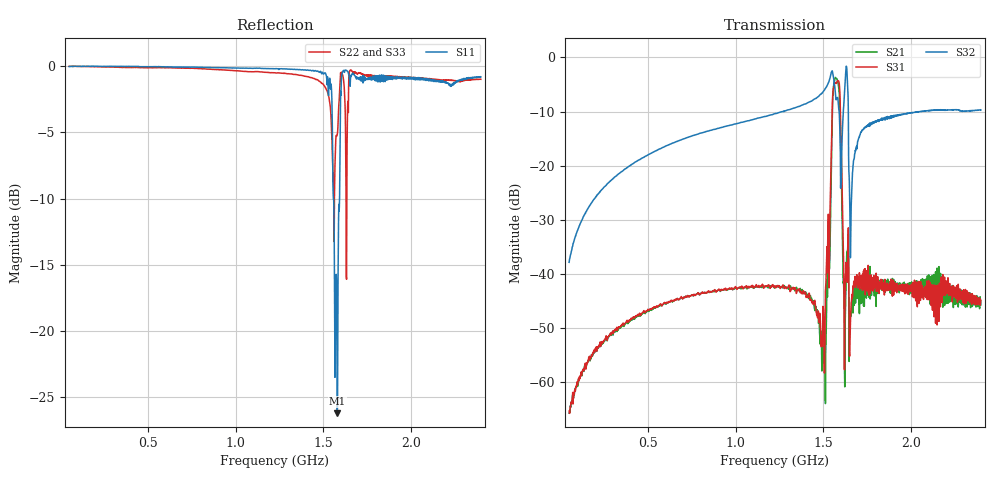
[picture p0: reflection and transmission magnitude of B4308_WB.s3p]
! Matrix data file written by TouchstoneData, EPCOS AG
! FILENAME: "newformat_LY98B_3_P1011407_Pcb01_WB.s3p"
! COMMENT: "(LY98B_3_P1011407_Pcb01_WB.s3p) Epcos AG 9/1"
! INFO: nport=3, nfreq=1601
! DATE: "Wed Oct 12 10:01:04 2011"
! USER: "WeiLong Lin"
! port | pin | signal
!  1  |  1  |  in
!  2  |  2  |  out
!  3  |  4  |  out
# MHZ S MA R 50
! freq  magS11 angS11  magS12 angS12  magS13 angS13  ...
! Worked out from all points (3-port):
!   1601 points, 50 MHz to 2.4 GHz, reference 50 ohm
!   strongest paths, dB at 50 MHz, 637.5 MHz, 1.225 GHz, 1.812 GHz, 2.4 GHz:
!     S32: -37.9, -15.9, -10.4, -11.8, -9.7
!     S31: -65.3, -45.1, -42.3, -42.4, -44.9
!     S21: -65.7, -45.2, -42.5, -41.8, -45.7
!   lowest |S11| = -26.2 dB at 1.58 GHz (marker M1), VSWR 1.10, Z = 45.3 + j0.0102 ohm
!   |S11| at or under -10 dB: 1.558 GHz to 1.593 GHz (35.13 MHz wide, 2.23 % of centre)
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50  0.9946 -3.1  0.0005266 88.5  0.0006095 91.6
    0.0005168 92.4  0.9972 -1.5  0.01291 88.9
    0.0005405 88.7  0.0128 88.7  0.9974 -2.0
1225  0.9756 -70.6  0.007826 45.1  0.007855 41.7
      0.007499 44.9  0.9428 -44.6  0.303 44.3
      0.007668 41.6  0.3025 44.4  0.9366 -45.1
1504.062  0.935 -111.9  0.00223 175.3  0.003254 54.3
          0.00212 175.1  0.8451 -62.4  0.4925 25.5
          0.003218 53.8  0.4909 25.5  0.8353 -63.3
1537.844  0.8983 -152.0  0.01418 -122.7  0.03153 141.6
          0.01357 -122.7  0.725 -73.8  0.6385 12.8
          0.03138 141.6  0.6361 12.8  0.7126 -74.6
1559.875  0.3146 -84.4  0.5518 128.5  0.5184 -42.0
          0.5517 128.5  0.3387 -66.8  0.6367 -25.3
          0.5165 -42.0  0.6346 -25.4  0.3959 -49.8
1580.438  0.04896 179.9  0.6199 -35.0  0.6031 137.4
          0.62 -34.9  0.5519 -28.1  0.4283 -34.3
          0.601 137.3  0.427 -34.4  0.5586 -39.4
1618.625  0.9619 -21.3  0.005765 53.9  0.006703 -106.9
          0.005491 53.6  0.8561 -59.7  0.3922 22.8
          0.006613 -106.9  0.391 22.8  0.8434 -59.9
1658.281  0.913 -52.3  0.004256 49.5  0.004692 43.8
          0.004066 49.2  0.9645 -33.0  0.03031 27.6
          0.004626 43.5  0.02976 27.6  0.9606 -35.0
1750.812  0.8882 -71.4  0.006656 45.7  0.009006 44.9
          0.006352 45.6  0.9252 -49.8  0.2305 32.8
          0.008868 44.7  0.2298 32.7  0.921 -51.0
2400  0.9091 -96.4  0.005456 29.2  0.005801 31.1
      0.005189 29.0  0.8907 -69.6  0.3283 15.4
      0.005689 30.9  0.3269 15.4  0.8835 -69.8
